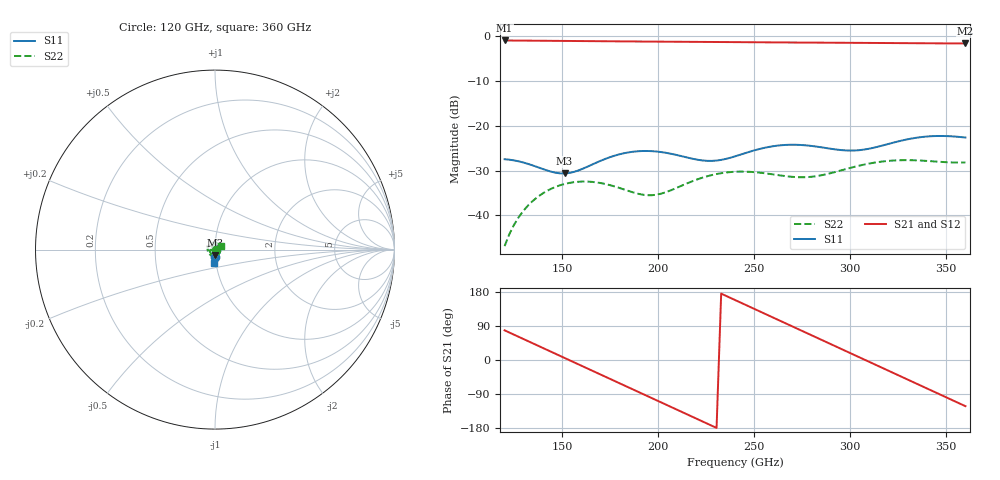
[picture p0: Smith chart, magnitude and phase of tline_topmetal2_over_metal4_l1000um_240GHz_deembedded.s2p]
! Created with skrf 2.0.1 (http://scikit-rf.org).
# GHz S DB R 50.0
!freq dBS11 angS11 dBS21 angS21 dBS12 angS12 dBS22 angS22
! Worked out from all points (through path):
!   101 points, 120 GHz to 360 GHz, reference 50 ohm
!   highest |S21| = -0.97 dB at 120 GHz (marker M1); lowest = -1.6 dB at 360 GHz (marker M2)
!   group delay of S21, straight-line fit = 6.48 ps
!   lowest |S11| = -30.7 dB at 151.2 GHz (marker M3), VSWR 1.06, Z = 49.8 - j2.92 ohm
!   |S11| at or under -10 dB: start of sweep to end of sweep
!   |S22| runs from -46.9 to -27.7 dB; largest |S21 - S12| = 1e-13
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120  -27.48 -92.9  -0.97 78.3  -0.97 78.3  -46.88 -20.4
132  -28.49 -102.8  -1.01 50.3  -1.01 50.3  -37.90 -34.3
151.2  -30.65 -92.3  -1.08 5.5  -1.08 5.5  -33.00 -86.8
160.8  -29.58 -81.5  -1.11 -16.9  -1.11 -16.9  -32.46 -117.6
170.4  -27.76 -79.4  -1.14 -39.3  -1.14 -39.3  -32.83 -151.9
182.4  -26.12 -85.8  -1.18 -67.3  -1.18 -67.3  -34.26 156.9
192  -25.64 -93.3  -1.21 -89.7  -1.21 -89.7  -35.40 105.6
201.6  -25.88 -99.8  -1.24 -112.1  -1.24 -112.1  -35.16 48.4
220.8  -27.61 -99.7  -1.29 -156.8  -1.29 -156.8  -31.91 -48.6
230.4  -27.78 -91.4  -1.32 -179.3  -1.32 -179.3  -30.78 -89.1
240  -26.84 -84.5  -1.34 158.3  -1.34 158.3  -30.28 -128.4
252  -25.28 -84.1  -1.38 130.3  -1.38 130.3  -30.44 -179.1
261.6  -24.47 -88.2  -1.41 107.9  -1.41 107.9  -30.97 136.9
271.2  -24.25 -93.2  -1.43 85.5  -1.43 85.5  -31.45 88.4
280.8  -24.57 -96.7  -1.45 63.1  -1.45 63.1  -31.35 36.9
292.8  -25.32 -95.7  -1.48 35.1  -1.48 35.1  -30.26 -25.4
302.4  -25.53 -90.1  -1.51 12.7  -1.51 12.7  -29.15 -70.9
312  -24.94 -84.1  -1.53 -9.8  -1.53 -9.8  -28.28 -113.5
321.6  -23.87 -81.9  -1.55 -32.2  -1.55 -32.2  -27.79 -154.7
340.8  -22.38 -88.0  -1.60 -77.0  -1.60 -77.0  -27.88 120.8
350.4  -22.32 -92.3  -1.63 -99.4  -1.63 -99.4  -28.15 75.3
360  -22.64 -94.7  -1.65 -121.8  -1.65 -121.8  -28.19 27.4
